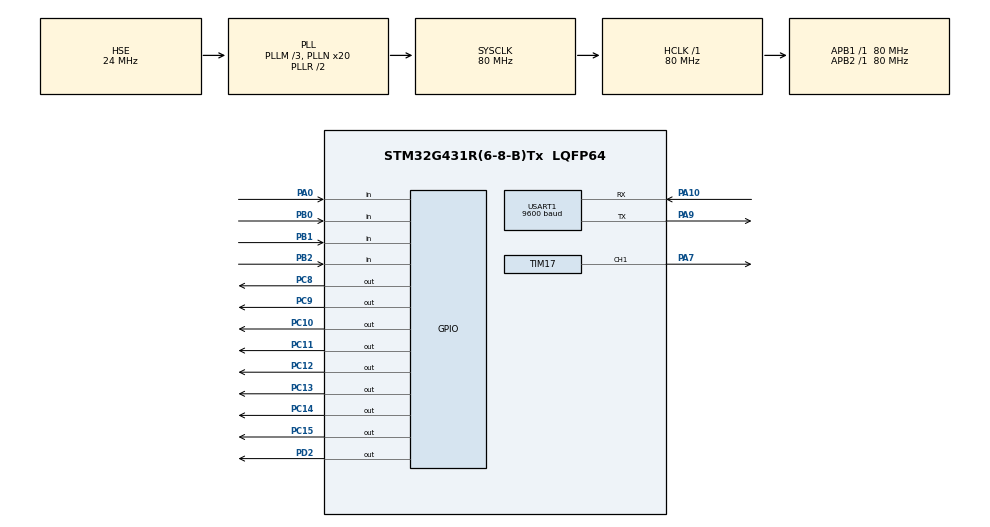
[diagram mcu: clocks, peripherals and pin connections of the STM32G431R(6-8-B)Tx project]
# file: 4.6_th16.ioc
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Dma.Request0=USART1_RX
Dma.Request1=USART1_TX
Dma.USART1_RX.0.Direction=DMA_PERIPH_TO_MEMORY
Dma.USART1_RX.0.EventEnable=DISABLE
Dma.USART1_RX.0.Instance=DMA1_Channel1
Dma.USART1_RX.0.MemDataAlignment=DMA_MDATAALIGN_BYTE
Dma.USART1_RX.0.MemInc=DMA_MINC_ENABLE
Dma.USART1_RX.0.Mode=DMA_NORMAL
Dma.USART1_RX.0.PeriphDataAlignment=DMA_PDATAALIGN_BYTE
Dma.USART1_RX.0.PeriphInc=DMA_PINC_DISABLE
Dma.USART1_RX.0.Polarity=HAL_DMAMUX_REQ_GEN_RISING
Dma.USART1_RX.0.Priority=DMA_PRIORITY_LOW
Dma.USART1_RX.0.RequestNumber=1
Dma.USART1_RX.0.SignalID=NONE
Dma.USART1_RX.0.SyncEnable=DISABLE
Dma.USART1_RX.0.SyncPolarity=HAL_DMAMUX_SYNC_NO_EVENT
Dma.USART1_RX.0.SyncRequestNumber=1
Dma.USART1_RX.0.SyncSignalID=NONE
Dma.USART1_TX.1.Direction=DMA_MEMORY_TO_PERIPH
Dma.USART1_TX.1.EventEnable=DISABLE
Dma.USART1_TX.1.Instance=DMA1_Channel2
Dma.USART1_TX.1.MemDataAlignment=DMA_MDATAALIGN_BYTE
Dma.USART1_TX.1.MemInc=DMA_MINC_ENABLE
Dma.USART1_TX.1.Mode=DMA_NORMAL
Dma.USART1_TX.1.PeriphDataAlignment=DMA_PDATAALIGN_BYTE
Dma.USART1_TX.1.PeriphInc=DMA_PINC_DISABLE
Dma.USART1_TX.1.Polarity=HAL_DMAMUX_REQ_GEN_RISING
Dma.USART1_TX.1.Priority=DMA_PRIORITY_LOW
Dma.USART1_TX.1.RequestNumber=1
Dma.USART1_TX.1.SignalID=NONE
Dma.USART1_TX.1.SyncEnable=DISABLE
Dma.USART1_TX.1.SyncPolarity=HAL_DMAMUX_SYNC_NO_EVENT
Dma.USART1_TX.1.SyncRequestNumber=1
Dma.USART1_TX.1.SyncSignalID=NONE
Mcu.Family=STM32G4
Mcu.Name=STM32G431R(6-8-B)Tx
Mcu.Package=LQFP64
NVIC.DMA1_Channel1_IRQn=true\:0\:0\:false\:false\:true\:false\:true\:true
NVIC.DMA1_Channel2_IRQn=true\:0\:0\:false\:false\:true\:false\:true\:true
NVIC.PriorityGroup=NVIC_PRIORITYGROUP_4
NVIC.TIM1_UP_TIM16_IRQn=true\:0\:0\:false\:false\:true\:true\:true\:true
NVIC.USART1_IRQn=true\:0\:0\:false\:false\:true\:true\:true\:true
PA0.GPIO_Mode=GPIO_MODE_INPUT
PA0.GPIO_PuPd=GPIO_NOPULL
PA0.Signal=GPIO_Input
PA10.Mode=Asynchronous
PA10.Signal=USART1_RX
PA13.Mode=Serial_Wire
PA13.Signal=SYS_JTMS-SWDIO
PA14.Mode=Serial_Wire
PA14.Signal=SYS_JTCK-SWCLK
PA7.Signal=S_TIM17_CH1
PA9.Mode=Asynchronous
PA9.Signal=USART1_TX
PB0.GPIO_Mode=GPIO_MODE_INPUT
PB0.GPIO_PuPd=GPIO_NOPULL
PB0.Signal=GPIO_Input
PB1.GPIO_Mode=GPIO_MODE_INPUT
PB1.GPIO_PuPd=GPIO_NOPULL
PB1.Signal=GPIO_Input
PB2.GPIO_Mode=GPIO_MODE_INPUT
PB2.GPIO_PuPd=GPIO_NOPULL
PB2.Signal=GPIO_Input
PC10.GPIO_ModeDefaultOutputPP=GPIO_MODE_OUTPUT_PP
PC10.PinState=GPIO_PIN_SET
PC10.Signal=GPIO_Output
PC11.GPIO_ModeDefaultOutputPP=GPIO_MODE_OUTPUT_PP
PC11.PinState=GPIO_PIN_SET
PC11.Signal=GPIO_Output
PC12.GPIO_ModeDefaultOutputPP=GPIO_MODE_OUTPUT_PP
PC12.PinState=GPIO_PIN_SET
PC12.Signal=GPIO_Output
PC13.GPIO_ModeDefaultOutputPP=GPIO_MODE_OUTPUT_PP
PC13.PinState=GPIO_PIN_SET
PC13.Signal=GPIO_Output
PC14-OSC32_IN.GPIO_ModeDefaultOutputPP=GPIO_MODE_OUTPUT_PP
PC14-OSC32_IN.PinState=GPIO_PIN_SET
PC14-OSC32_IN.Signal=GPIO_Output
PC15-OSC32_OUT.GPIO_ModeDefaultOutputPP=GPIO_MODE_OUTPUT_PP
PC15-OSC32_OUT.PinState=GPIO_PIN_SET
PC15-OSC32_OUT.Signal=GPIO_Output
PC8.GPIO_ModeDefaultOutputPP=GPIO_MODE_OUTPUT_PP
PC8.PinState=GPIO_PIN_SET
PC8.Signal=GPIO_Output
PC9.GPIO_ModeDefaultOutputPP=GPIO_MODE_OUTPUT_PP
PC9.PinState=GPIO_PIN_SET
PC9.Signal=GPIO_Output
PD2.GPIO_ModeDefaultOutputPP=GPIO_MODE_OUTPUT_PP
PD2.PinState=GPIO_PIN_SET
PD2.Signal=GPIO_Output
PF0-OSC_IN.Mode=HSE-External-Oscillator
PF0-OSC_IN.Signal=RCC_OSC_IN
PF1-OSC_OUT.Mode=HSE-External-Oscillator
PF1-OSC_OUT.Signal=RCC_OSC_OUT
ProjectManager.HeapSize=0x200
ProjectManager.StackSize=0x400
ProjectManager.TargetToolchain=MDK-ARM V5.32
RCC.ADC12Freq_Value=80000000
RCC.AHBFreq_Value=80000000
RCC.APB1Freq_Value=80000000
RCC.APB1TimFreq_Value=80000000
RCC.APB2Freq_Value=80000000
RCC.APB2TimFreq_Value=80000000
RCC.CortexFreq_Value=80000000
RCC.EXTERNAL_CLOCK_VALUE=12288000
RCC.HCLKFreq_Value=80000000
RCC.HSE_VALUE=24000000
RCC.HSI48_VALUE=48000000
RCC.HSI_VALUE=16000000
RCC.LSE_VALUE=32768
RCC.PLLM=RCC_PLLM_DIV3
RCC.PLLN=20
RCC.PLLSourceVirtual=RCC_PLLSOURCE_HSE
RCC.SYSCLKFreq_VALUE=80000000
RCC.SYSCLKSource=RCC_SYSCLKSOURCE_PLLCLK
RCC.USBFreq_Value=80000000
RCC.VCOOutputFreq_Value=160000000
SH.S_TIM17_CH1.0=TIM17_CH1,PWM Generation1 CH1
TIM1.PeriodNoDither=1000-1
TIM1.Prescaler=80-1
TIM17.Channel=TIM_CHANNEL_1
TIM17.PeriodNoDither=100-1
TIM17.Prescaler=400-1
USART1.BaudRate=9600
USART1.VirtualMode-Asynchronous=VM_ASYNC
VP_SYS_VS_DBSignals.Mode=DisableDeadBatterySignals
VP_TIM17_VS_ClockSourceINT.Mode=Enable_Timer
VP_TIM1_VS_ClockSourceINT.Mode=Internal
board=custom

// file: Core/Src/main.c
/* USER CODE BEGIN Header */
/**
  ******************************************************************************
  * @file           : main.c
  * @brief          : Main program body
  ******************************************************************************
  * @attention
  *
  * Copyright (c) 2026 STMicroelectronics.
  * All rights reserved.
  *
  * This software is licensed under terms that can be found in the LICENSE file
  * in the root directory of this software component.
  * If no LICENSE file comes with this software, it is provided AS-IS.
  *
  ******************************************************************************
  */
/* USER CODE END Header */
#include "main.h"
#include "dma.h"
#include "tim.h"
#include "usart.h"
#include "gpio.h"

/* USER CODE BEGIN Includes */
#include "headfile.h"
/* USER CODE END Includes */

/* USER CODE BEGIN PV */
extern DMA_HandleTypeDef hdma_usart1_rx;
uint8_t rx_buff[50];
uint16_t duty;
uint8_t com_flag=0;//0 di  1 20
/* USER CODE END PV */

void SystemClock_Config(void);

int main(void)
{

  /* MCU Configuration--------------------------------------------------------*/

  /* Reset of all peripherals, Initializes the Flash interface and the Systick. */
  HAL_Init();

  /* Configure the system clock */
  SystemClock_Config();

  /* Initialize all configured peripherals */
  MX_GPIO_Init();
  MX_DMA_Init();
  MX_TIM1_Init();
  MX_USART1_UART_Init();
  MX_TIM17_Init();
  /* USER CODE BEGIN 2 */
	HAL_GPIO_WritePin(GPIOD,GPIO_PIN_2,GPIO_PIN_RESET);
	HAL_TIM_Base_Start_IT(&htim1);

	LCD_Init();
	LCD_Clear(Black);
	LCD_SetBackColor(Black);
	LCD_SetTextColor(White);

	HAL_TIM_PWM_Start(&htim17,TIM_CHANNEL_1);
	TIM17->CCR1=0;

	//printf("hello");
	HAL_UARTEx_ReceiveToIdle_DMA(&huart1,rx_buff,sizeof(rx_buff));
	__HAL_DMA_DISABLE_IT(&hdma_usart1_rx,DMA_IT_HT);
  /* USER CODE END 2 */

  /* Infinite loop */
  /* USER CODE BEGIN WHILE */
  while (1)
  {
	  task();
	  if(!com_flag)
	  {
	  TIM17->CCR1=0;show_led(2,0);
	  }
	  else
	  {
		TIM17->CCR1=20;show_led(2,1);
	  }
	  if(key_short)
	  {
		switch(key_short)
		{
			case 1:{
			mode_lcd=(mode_lcd+1)%2;
			}break;
				case 2:{
				if(mode_lcd==1)
				{
					m_cnbr+=0.5;
					m_vnbr+=0.5;
				}
				}break;
					case 3:{
				if(mode_lcd==1)
				{
					m_cnbr-=0.5;
					m_vnbr-=0.5;
				}
					}break;
						case 4:{
						com_flag=!com_flag;//printf("%d",com_flag);
						}break;
		}key_short=0;
	  }

	  if(key_long)
	  {
		switch(key_long)
		{
			case 1:{
			mode_lcd=(mode_lcd+1)%2;
			}break;
				case 2:{
				if(mode_lcd==1)
				{
					m_cnbr+=0.5;
					m_vnbr+=0.5;
				}
				}break;
					case 3:{
				if(mode_lcd==1)
				{
					m_cnbr-=0.5;
					m_vnbr-=0.5;
				}
					}break;
						case 4:{
						com_flag=!com_flag;
						}break;
		}key_long=0;
	  }

    /* USER CODE END WHILE */

  }
}

void SystemClock_Config(void)
{
  RCC_OscInitTypeDef RCC_OscInitStruct = {0};
  RCC_ClkInitTypeDef RCC_ClkInitStruct = {0};

  /** Configure the main internal regulator output voltage
  */
  HAL_PWREx_ControlVoltageScaling(PWR_REGULATOR_VOLTAGE_SCALE1);

  /** Initializes the RCC Oscillators according to the specified parameters
  * in the RCC_OscInitTypeDef structure.
  */
  RCC_OscInitStruct.OscillatorType = RCC_OSCILLATORTYPE_HSE;
  RCC_OscInitStruct.HSEState = RCC_HSE_ON;
  RCC_OscInitStruct.PLL.PLLState = RCC_PLL_ON;
  RCC_OscInitStruct.PLL.PLLSource = RCC_PLLSOURCE_HSE;
  RCC_OscInitStruct.PLL.PLLM = RCC_PLLM_DIV3;
  RCC_OscInitStruct.PLL.PLLN = 20;
  RCC_OscInitStruct.PLL.PLLP = RCC_PLLP_DIV2;
  RCC_OscInitStruct.PLL.PLLQ = RCC_PLLQ_DIV2;
  RCC_OscInitStruct.PLL.PLLR = RCC_PLLR_DIV2;
  if (HAL_RCC_OscConfig(&RCC_OscInitStruct) != HAL_OK)
  {
    Error_Handler();
  }

  /** Initializes the CPU, AHB and APB buses clocks
  */
  RCC_ClkInitStruct.ClockType = RCC_CLOCKTYPE_HCLK|RCC_CLOCKTYPE_SYSCLK
                              |RCC_CLOCKTYPE_PCLK1|RCC_CLOCKTYPE_PCLK2;
  RCC_ClkInitStruct.SYSCLKSource = RCC_SYSCLKSOURCE_PLLCLK;
  RCC_ClkInitStruct.AHBCLKDivider = RCC_SYSCLK_DIV1;
  RCC_ClkInitStruct.APB1CLKDivider = RCC_HCLK_DIV1;
  RCC_ClkInitStruct.APB2CLKDivider = RCC_HCLK_DIV1;

  if (HAL_RCC_ClockConfig(&RCC_ClkInitStruct, FLASH_LATENCY_2) != HAL_OK)
  {
    Error_Handler();
  }
}

/* USER CODE BEGIN 4 */

int fputc(int ch,FILE *f)
{
	HAL_UART_Transmit(&huart1,(u8 *)&ch,1,50);
	return ch;
}

void HAL_UARTEx_RxEventCallback(UART_HandleTypeDef *huart, uint16_t Size)
{
	if(huart->Instance==USART1)
	{
		uart_process();
		HAL_UARTEx_ReceiveToIdle_DMA(huart,rx_buff,sizeof(rx_buff));
		__HAL_DMA_DISABLE_IT(&hdma_usart1_rx,DMA_IT_HT);
	}
}

/* USER CODE END 4 */

void Error_Handler(void)
{
  __disable_irq();
  while (1)
  {
  }
}
